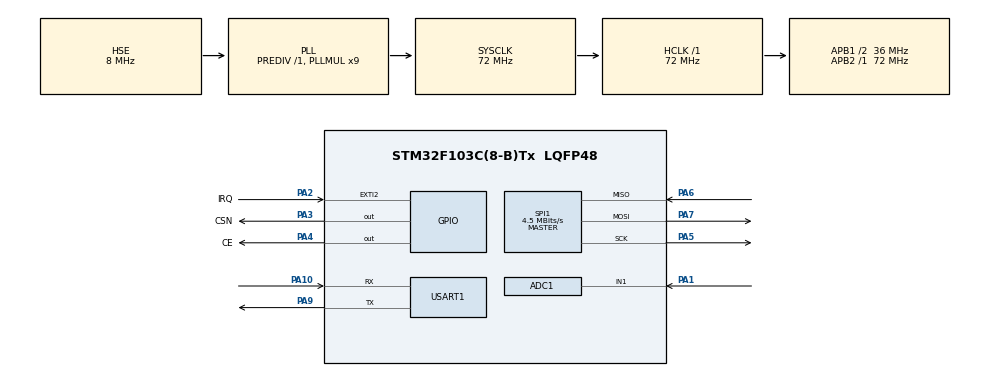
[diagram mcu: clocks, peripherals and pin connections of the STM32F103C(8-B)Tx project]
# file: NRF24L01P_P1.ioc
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ADC1.Channel-9\#ChannelRegularConversion=ADC_CHANNEL_1
ADC1.ContinuousConvMode=ENABLE
ADC1.EnableRegularConversion=ENABLE
ADC1.NbrOfConversionFlag=1
ADC1.Rank-9\#ChannelRegularConversion=1
ADC1.SamplingTime-9\#ChannelRegularConversion=ADC_SAMPLETIME_239CYCLES_5
ADC1.master=1
Mcu.Family=STM32F1
Mcu.Name=STM32F103C(8-B)Tx
Mcu.Package=LQFP48
NVIC.EXTI2_IRQn=true\:0\:0\:false\:false\:true\:true\:true\:true
NVIC.PriorityGroup=NVIC_PRIORITYGROUP_4
NVIC.USART1_IRQn=true\:0\:0\:false\:false\:true\:true\:true\:true
PA1.Signal=ADCx_IN1
PA10.Mode=Asynchronous
PA10.Signal=USART1_RX
PA13.Mode=Serial_Wire
PA13.Signal=SYS_JTMS-SWDIO
PA14.Mode=Serial_Wire
PA14.Signal=SYS_JTCK-SWCLK
PA2.GPIO_Label=IRQ
PA2.GPIO_ModeDefaultEXTI=GPIO_MODE_IT_FALLING
PA2.GPIO_PuPd=GPIO_PULLUP
PA2.Signal=GPXTI2
PA3.GPIO_Label=CSN
PA3.GPIO_PuPd=GPIO_PULLUP
PA3.GPIO_Speed=GPIO_SPEED_FREQ_HIGH
PA3.PinState=GPIO_PIN_SET
PA3.Signal=GPIO_Output
PA4.GPIO_Label=CE
PA4.GPIO_PuPd=GPIO_PULLDOWN
PA4.GPIO_Speed=GPIO_SPEED_FREQ_HIGH
PA4.Signal=GPIO_Output
PA5.Mode=Full_Duplex_Master
PA5.Signal=SPI1_SCK
PA6.Mode=Full_Duplex_Master
PA6.Signal=SPI1_MISO
PA7.Mode=Full_Duplex_Master
PA7.Signal=SPI1_MOSI
PA9.Mode=Asynchronous
PA9.Signal=USART1_TX
PD0-OSC_IN.Mode=HSE-External-Oscillator
PD0-OSC_IN.Signal=RCC_OSC_IN
PD1-OSC_OUT.Mode=HSE-External-Oscillator
PD1-OSC_OUT.Signal=RCC_OSC_OUT
ProjectManager.HeapSize=0x200
ProjectManager.StackSize=0x400
ProjectManager.TargetToolchain=STM32CubeIDE
RCC.ADCPresc=RCC_ADCPCLK2_DIV6
RCC.AHBFreq_Value=72000000
RCC.APB1CLKDivider=RCC_HCLK_DIV2
RCC.APB1Freq_Value=36000000
RCC.APB1TimFreq_Value=72000000
RCC.APB2Freq_Value=72000000
RCC.APB2TimFreq_Value=72000000
RCC.HCLKFreq_Value=72000000
RCC.PLLMUL=RCC_PLL_MUL9
RCC.PLLSourceVirtual=RCC_PLLSOURCE_HSE
RCC.SYSCLKFreq_VALUE=72000000
RCC.SYSCLKSource=RCC_SYSCLKSOURCE_PLLCLK
RCC.USBFreq_Value=72000000
SH.ADCx_IN1.0=ADC1_IN1,IN1
SPI1.BaudRatePrescaler=SPI_BAUDRATEPRESCALER_16
SPI1.CalculateBaudRate=4.5 MBits/s
SPI1.Direction=SPI_DIRECTION_2LINES
SPI1.Mode=SPI_MODE_MASTER
SPI1.VirtualType=VM_MASTER
USART1.VirtualMode=VM_ASYNC
board=custom

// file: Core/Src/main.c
/* USER CODE BEGIN Header */
/**
 ******************************************************************************
 * @file           : main.c
 * @brief          : Main program body
 ******************************************************************************
 * @attention
 *
 * Copyright (c) 2023 STMicroelectronics.
 * All rights reserved.
 *
 * This software is licensed under terms that can be found in the LICENSE file
 * in the root directory of this software component.
 * If no LICENSE file comes with this software, it is provided AS-IS.
 *
 ******************************************************************************
 */
/* USER CODE END Header */
#include "main.h"

/* USER CODE BEGIN Includes */
#include "nrf24l01p.h"
#include "uart.h"
#include "stdio.h"
/* USER CODE END Includes */

ADC_HandleTypeDef hadc1;

SPI_HandleTypeDef hspi1;

UART_HandleTypeDef huart1;

/* USER CODE BEGIN PV */
uint8_t nrf24l01p_rx_flag = 0;
uint8_t adc_flag = 0;
double adcVal = 0.0;

extern ring_buffer_t uart_rx;

//uint8_t address[5]={0xE7,0xE7,0xE7,0xE7,0xE7};

uint8_t P0_address[6] = "node0";
uint8_t P1_address[6] = "node1";

uint8_t rx_data[NRF24L01P_PAYLOAD_LENGTH] = { 0 };
uint8_t tx_data[NRF24L01P_PAYLOAD_LENGTH] = { 0 };
/* USER CODE END PV */

void SystemClock_Config(void);
static void MX_GPIO_Init(void);
static void MX_SPI1_Init(void);
static void MX_USART1_UART_Init(void);
static void MX_ADC1_Init(void);
/* USER CODE BEGIN PFP */
void HAL_GPIO_EXTI_Callback(uint16_t GPIO_Pin);
/* USER CODE END PFP */

int main(void) {

	/* MCU Configuration--------------------------------------------------------*/

	/* Reset of all peripherals, Initializes the Flash interface and the Systick. */
	HAL_Init();

	/* Configure the system clock */
	SystemClock_Config();

	/* Initialize all configured peripherals */
	MX_GPIO_Init();
	MX_SPI1_Init();
	MX_USART1_UART_Init();
	MX_ADC1_Init();
	/* USER CODE BEGIN 2 */
	nrf24l01p_rx_init(2500, _1Mbps, P1_address, P0_address);

	rxBufferInit(&uart_rx);

	/* Enable the UART Error Interrupt: (Frame error, noise error, overrun error) */
	__HAL_UART_ENABLE_IT(&huart1, UART_IT_ERR);

	/* Enable the UART Data Register not empty Interrupt */
	__HAL_UART_ENABLE_IT(&huart1, UART_IT_RXNE);

	HAL_ADC_Start(&hadc1);

	/* USER CODE END 2 */

	/* Infinite loop */
	while (1) {

		/* USER CODE BEGIN 3 */
		if (nrf24l01p_rx_flag == 1) {
			nrf24l01p_rx_flag =0;
			uint8_t stat = read_register(NRF24L01P_REG_CONFIG);
			if (!(stat & (1 << 0))) {

				nrf24l01p_prx_mode();
			}

			//nrf24l01p_flush_rx_fifo();
			nrf24l01p_rx_receive(rx_data);
			HAL_UART_Transmit(&huart1, rx_data, sizeof(rx_data), 500);
		}
		/*

		 memset(tx_data, 0, sizeof(tx_data));

		 uint8_t stat = read_register(NRF24L01P_REG_CONFIG);
		 if ((stat & (1 << 0))) {

		 nrf24l01p_ptx_mode();
		 //nrf24l01p_tx_init(2500, _1Mbps, P0_address);
		 }

		 //nrf24l01p_tx_init(2500, _1Mbps, P0_address);
		 HAL_ADC_PollForConversion(&hadc1, HAL_MAX_DELAY);
		 adcVal = HAL_ADC_GetValue(&hadc1);

		 sprintf(tx_data, "%.2f\n", adcVal);

		 nrf24l01p_flush_tx_fifo();

		 nrf24l01p_tx_transmit(tx_data);
		 HAL_Delay(10);
		 nrf24l01p_prx_mode();
		 */

		memset(tx_data, 0, sizeof(tx_data));

		int num = 0;
		if (num = uart_available(&uart_rx)) {

			nrf24l01p_ptx_mode();

			for (int i = 0; i < num; i++) {

				int ch = pop(&uart_rx);
				if (ch != -1) {
					tx_data[i] = ch;
				}
			}

			nrf24l01p_flush_tx_fifo();
			nrf24l01p_tx_transmit(tx_data);
			HAL_Delay(100);

			nrf24l01p_prx_mode();
			//nrf24l01p_rx_init(2500, _1Mbps, P0_address);
		}

		HAL_Delay(100);
	}
	/* USER CODE END 3 */
}

void SystemClock_Config(void) {
	RCC_OscInitTypeDef RCC_OscInitStruct = { 0 };
	RCC_ClkInitTypeDef RCC_ClkInitStruct = { 0 };
	RCC_PeriphCLKInitTypeDef PeriphClkInit = { 0 };

	/** Initializes the RCC Oscillators according to the specified parameters
	 * in the RCC_OscInitTypeDef structure.
	 */
	RCC_OscInitStruct.OscillatorType = RCC_OSCILLATORTYPE_HSE;
	RCC_OscInitStruct.HSEState = RCC_HSE_ON;
	RCC_OscInitStruct.HSEPredivValue = RCC_HSE_PREDIV_DIV1;
	RCC_OscInitStruct.HSIState = RCC_HSI_ON;
	RCC_OscInitStruct.PLL.PLLState = RCC_PLL_ON;
	RCC_OscInitStruct.PLL.PLLSource = RCC_PLLSOURCE_HSE;
	RCC_OscInitStruct.PLL.PLLMUL = RCC_PLL_MUL9;
	if (HAL_RCC_OscConfig(&RCC_OscInitStruct) != HAL_OK) {
		Error_Handler();
	}

	/** Initializes the CPU, AHB and APB buses clocks
	 */
	RCC_ClkInitStruct.ClockType = RCC_CLOCKTYPE_HCLK | RCC_CLOCKTYPE_SYSCLK
			| RCC_CLOCKTYPE_PCLK1 | RCC_CLOCKTYPE_PCLK2;
	RCC_ClkInitStruct.SYSCLKSource = RCC_SYSCLKSOURCE_PLLCLK;
	RCC_ClkInitStruct.AHBCLKDivider = RCC_SYSCLK_DIV1;
	RCC_ClkInitStruct.APB1CLKDivider = RCC_HCLK_DIV2;
	RCC_ClkInitStruct.APB2CLKDivider = RCC_HCLK_DIV1;

	if (HAL_RCC_ClockConfig(&RCC_ClkInitStruct, FLASH_LATENCY_2) != HAL_OK) {
		Error_Handler();
	}
	PeriphClkInit.PeriphClockSelection = RCC_PERIPHCLK_ADC;
	PeriphClkInit.AdcClockSelection = RCC_ADCPCLK2_DIV6;
	if (HAL_RCCEx_PeriphCLKConfig(&PeriphClkInit) != HAL_OK) {
		Error_Handler();
	}
}

static void MX_ADC1_Init(void) {

	ADC_ChannelConfTypeDef sConfig = { 0 };

	/** Common config
	 */
	hadc1.Instance = ADC1;
	hadc1.Init.ScanConvMode = ADC_SCAN_DISABLE;
	hadc1.Init.ContinuousConvMode = ENABLE;
	hadc1.Init.DiscontinuousConvMode = DISABLE;
	hadc1.Init.ExternalTrigConv = ADC_SOFTWARE_START;
	hadc1.Init.DataAlign = ADC_DATAALIGN_RIGHT;
	hadc1.Init.NbrOfConversion = 1;
	if (HAL_ADC_Init(&hadc1) != HAL_OK) {
		Error_Handler();
	}

	/** Configure Regular Channel
	 */
	sConfig.Channel = ADC_CHANNEL_1;
	sConfig.Rank = ADC_REGULAR_RANK_1;
	sConfig.SamplingTime = ADC_SAMPLETIME_239CYCLES_5;
	if (HAL_ADC_ConfigChannel(&hadc1, &sConfig) != HAL_OK) {
		Error_Handler();
	}

}

static void MX_SPI1_Init(void) {

	/* SPI1 parameter configuration*/
	hspi1.Instance = SPI1;
	hspi1.Init.Mode = SPI_MODE_MASTER;
	hspi1.Init.Direction = SPI_DIRECTION_2LINES;
	hspi1.Init.DataSize = SPI_DATASIZE_8BIT;
	hspi1.Init.CLKPolarity = SPI_POLARITY_LOW;
	hspi1.Init.CLKPhase = SPI_PHASE_1EDGE;
	hspi1.Init.NSS = SPI_NSS_SOFT;
	hspi1.Init.BaudRatePrescaler = SPI_BAUDRATEPRESCALER_16;
	hspi1.Init.FirstBit = SPI_FIRSTBIT_MSB;
	hspi1.Init.TIMode = SPI_TIMODE_DISABLE;
	hspi1.Init.CRCCalculation = SPI_CRCCALCULATION_DISABLE;
	hspi1.Init.CRCPolynomial = 10;
	if (HAL_SPI_Init(&hspi1) != HAL_OK) {
		Error_Handler();
	}

}

static void MX_USART1_UART_Init(void) {

	huart1.Instance = USART1;
	huart1.Init.BaudRate = 115200;
	huart1.Init.WordLength = UART_WORDLENGTH_8B;
	huart1.Init.StopBits = UART_STOPBITS_1;
	huart1.Init.Parity = UART_PARITY_NONE;
	huart1.Init.Mode = UART_MODE_TX_RX;
	huart1.Init.HwFlowCtl = UART_HWCONTROL_NONE;
	huart1.Init.OverSampling = UART_OVERSAMPLING_16;
	if (HAL_UART_Init(&huart1) != HAL_OK) {
		Error_Handler();
	}

}

static void MX_GPIO_Init(void) {
	GPIO_InitTypeDef GPIO_InitStruct = { 0 };

	/* GPIO Ports Clock Enable */
	__HAL_RCC_GPIOD_CLK_ENABLE();
	__HAL_RCC_GPIOA_CLK_ENABLE();

	/*Configure GPIO pin Output Level */
	HAL_GPIO_WritePin(CSN_GPIO_Port, CSN_Pin, GPIO_PIN_SET);

	/*Configure GPIO pin Output Level */
	HAL_GPIO_WritePin(CE_GPIO_Port, CE_Pin, GPIO_PIN_RESET);

	/*Configure GPIO pin : IRQ_Pin */
	GPIO_InitStruct.Pin = IRQ_Pin;
	GPIO_InitStruct.Mode = GPIO_MODE_IT_FALLING;
	GPIO_InitStruct.Pull = GPIO_PULLUP;
	HAL_GPIO_Init(IRQ_GPIO_Port, &GPIO_InitStruct);

	/*Configure GPIO pin : CSN_Pin */
	GPIO_InitStruct.Pin = CSN_Pin;
	GPIO_InitStruct.Mode = GPIO_MODE_OUTPUT_PP;
	GPIO_InitStruct.Pull = GPIO_PULLUP;
	GPIO_InitStruct.Speed = GPIO_SPEED_FREQ_HIGH;
	HAL_GPIO_Init(CSN_GPIO_Port, &GPIO_InitStruct);

	/*Configure GPIO pin : CE_Pin */
	GPIO_InitStruct.Pin = CE_Pin;
	GPIO_InitStruct.Mode = GPIO_MODE_OUTPUT_PP;
	GPIO_InitStruct.Pull = GPIO_PULLDOWN;
	GPIO_InitStruct.Speed = GPIO_SPEED_FREQ_HIGH;
	HAL_GPIO_Init(CE_GPIO_Port, &GPIO_InitStruct);

	/* EXTI interrupt init*/
	HAL_NVIC_SetPriority(EXTI2_IRQn, 0, 0);
	HAL_NVIC_EnableIRQ(EXTI2_IRQn);

}

/* USER CODE BEGIN 4 */
void HAL_GPIO_EXTI_Callback(uint16_t GPIO_Pin) {
	if (GPIO_Pin == NRF24L01P_IRQ_PIN_NUMBER) {
		nrf24l01p_rx_flag = 1;
	}

}
/*
 void HAL_TIM_OC_DelayElapsedCallback(TIM_HandleTypeDef *htim)
 {
 adc_flag=1;
 HAL_ADC_PollForConversion(&hadc1,HAL_MAX_DELAY);
 adcVal = HAL_ADC_GetValue(&hadc1);
 sprintf(tx_data,"adc_val: %f\n",adcVal);

 //HAL_ADC_Stop(&hadc1);

 }
 */
/* USER CODE END 4 */

void Error_Handler(void) {
	__disable_irq();
	while (1) {
	}
}
